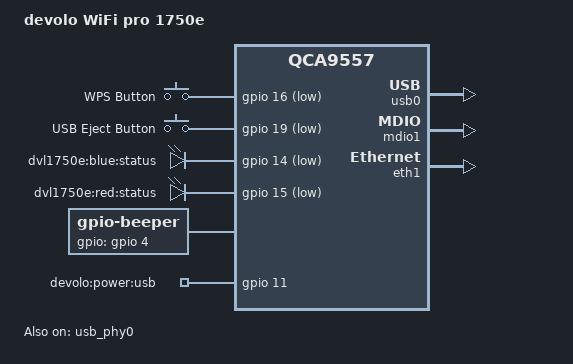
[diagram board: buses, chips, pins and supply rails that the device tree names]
// SPDX-License-Identifier: GPL-2.0-or-later OR MIT
/dts-v1/;

#include <dt-bindings/gpio/gpio.h>
#include <dt-bindings/input/input.h>

#include "qca9558_devolo_dvl1xxx.dtsi"

/ {
	compatible = "devolo,dvl1750e", "qca,qca9557";
	model = "devolo WiFi pro 1750e";

	aliases {
		led-boot = &status_blue;
		led-failsafe = &status_red;
		led-running = &status_blue;
		led-upgrade = &status_red;
	};

	keys {
		wps {
			label = "WPS Button";
			linux,code = <KEY_WPS_BUTTON>;
			gpios = <&gpio 16 GPIO_ACTIVE_LOW>;
			debounce-interval = <60>;
		};

		usb_eject {
			label = "USB Eject Button";
			linux,code = <BTN_0>;
			linux,input-type = <EV_SW>;
			gpios = <&gpio 19 GPIO_ACTIVE_LOW>;
			debounce-interval = <60>;
		};
	};

	leds {
		compatible = "gpio-leds";

		status_blue: status_blue {
			label = "dvl1750e:blue:status";
			gpios = <&gpio 14 GPIO_ACTIVE_LOW>;
			default-state = "on";
		};

		status_red: status_red {
			label = "dvl1750e:red:status";
			gpios = <&gpio 15 GPIO_ACTIVE_LOW>;
		};
	};

	beeper {
		compatible = "gpio-beeper";
		gpios = <&gpio 4 GPIO_ACTIVE_HIGH>;
	};


	gpio_export {
		compatible = "gpio-export";

		gpio_usb_power {
			gpio-export,name = "devolo:power:usb";
			gpio-export,output = <1>;
			gpios = <&gpio 11 GPIO_ACTIVE_HIGH>;
		};
	};
};

&usb_phy0 {
	status = "okay";
};

&usb0 {
	status = "okay";
};

&mdio1 {
	status = "okay";
};

&eth1 {
	status = "okay";
};
